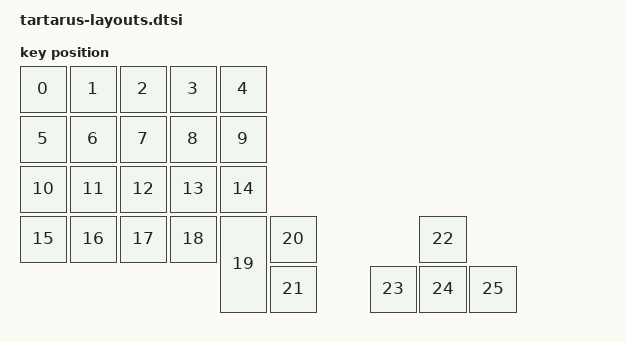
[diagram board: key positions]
#include <physical_layouts.dtsi>

/ {
    physical_layout0: physical_layout_0 {
        compatible = "zmk,physical-layout";
        display-name = "Tartarus Layout";
        kscan = <&mock_kscan>;
        transform = <&default_transform>;

        keys  //                     w   h    x    y     rot    rx    ry
            = <&key_physical_attrs 100 100    0    0       0     0     0>
            , <&key_physical_attrs 100 100  100    0       0     0     0>
            , <&key_physical_attrs 100 100  200    0       0     0     0>
            , <&key_physical_attrs 100 100  300    0       0     0     0>
            , <&key_physical_attrs 100 100  400    0       0     0     0>
            , <&key_physical_attrs 100 100    0  100       0     0     0>
            , <&key_physical_attrs 100 100  100  100       0     0     0>
            , <&key_physical_attrs 100 100  200  100       0     0     0>
            , <&key_physical_attrs 100 100  300  100       0     0     0>
            , <&key_physical_attrs 100 100  400  100       0     0     0>
            , <&key_physical_attrs 100 100    0  200       0     0     0>
            , <&key_physical_attrs 100 100  100  200       0     0     0>
            , <&key_physical_attrs 100 100  200  200       0     0     0>
            , <&key_physical_attrs 100 100  300  200       0     0     0>
            , <&key_physical_attrs 100 100  400  200       0     0     0>
            , <&key_physical_attrs 100 100    0  300       0     0     0>
            , <&key_physical_attrs 100 100  100  300       0     0     0>
            , <&key_physical_attrs 100 100  200  300       0     0     0>
            , <&key_physical_attrs 100 100  300  300       0     0     0>
            , <&key_physical_attrs 100 200  400  300       0     0     0>
            , <&key_physical_attrs 100 100  500  300       0     0     0>
            , <&key_physical_attrs 100 100  500  400       0     0     0>
            , <&key_physical_attrs 100 100  800  300       0     0     0>
            , <&key_physical_attrs 100 100  700  400       0     0     0>
            , <&key_physical_attrs 100 100  800  400       0     0     0>
            , <&key_physical_attrs 100 100  900  400       0     0     0>
            ;
    };

    position_map {
        compatible = "zmk,physical-layout-position-map";

        physical_layout0 {
            physical-layout = <&physical_layout0>;
            positions = <>;
        };
    };
};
